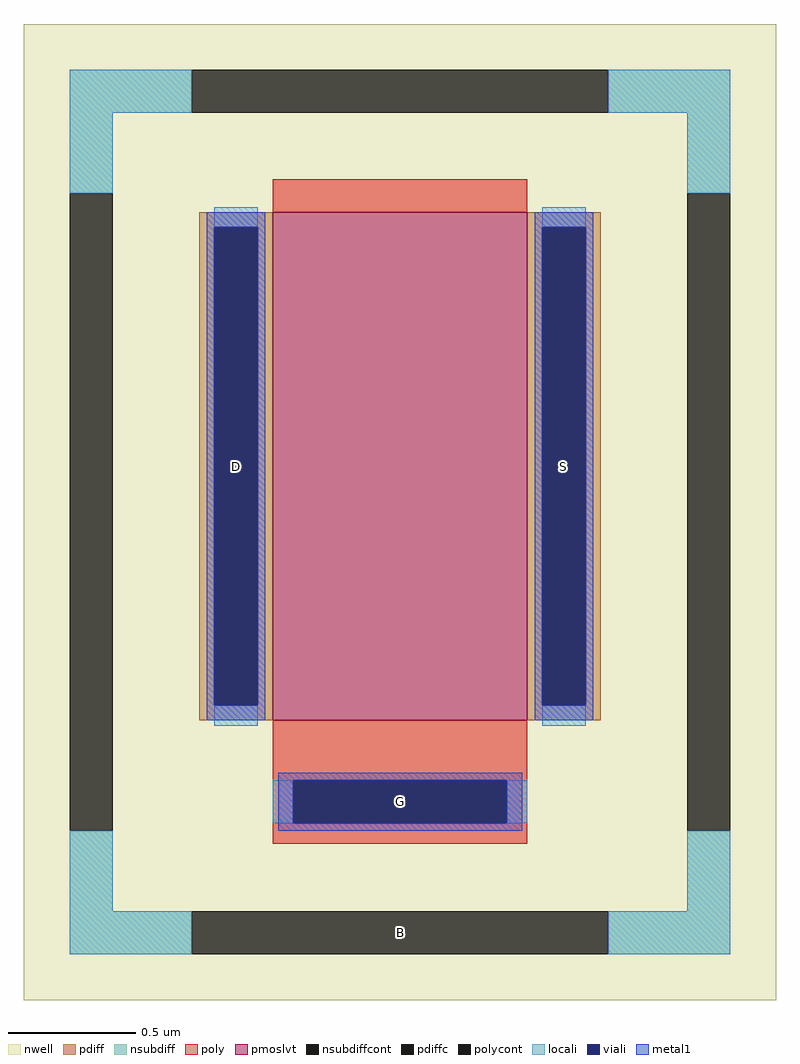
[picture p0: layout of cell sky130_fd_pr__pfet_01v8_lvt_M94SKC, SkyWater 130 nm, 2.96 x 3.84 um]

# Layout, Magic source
magic
tech sky130A
magscale 1 2
<< nwell >>
rect -296 -384 296 384
<< pmoslvt >>
rect -100 -164 100 236
<< pdiff >>
rect -158 224 -100 236
rect -158 -152 -146 224
rect -112 -152 -100 224
rect -158 -164 -100 -152
rect 100 224 158 236
rect 100 -152 112 224
rect 146 -152 158 224
rect 100 -164 158 -152
<< pdiffc >>
rect -146 -152 -112 224
rect 112 -152 146 224
<< nsubdiff >>
rect -260 314 -164 348
rect 164 314 260 348
rect -260 251 -226 314
rect 226 251 260 314
rect -260 -314 -226 -251
rect 226 -314 260 -251
rect -260 -348 -164 -314
rect 164 -348 260 -314
<< nsubdiffcont >>
rect -164 314 164 348
rect -260 -251 -226 251
rect 226 -251 260 251
rect -164 -348 164 -314
<< poly >>
rect -100 236 100 262
rect -100 -211 100 -164
rect -100 -245 -84 -211
rect 84 -245 100 -211
rect -100 -261 100 -245
<< polycont >>
rect -84 -245 84 -211
<< locali >>
rect -260 314 -164 348
rect 164 314 260 348
rect -260 251 -226 314
rect 226 251 260 314
rect -146 224 -112 240
rect -146 -168 -112 -152
rect 112 224 146 240
rect 112 -168 146 -152
rect -100 -245 -84 -211
rect 84 -245 100 -211
rect -260 -314 -226 -251
rect 226 -314 260 -251
rect -260 -348 -164 -314
rect 164 -348 260 -314
<< viali >>
rect -146 -152 -112 224
rect 112 -152 146 224
rect -84 -245 84 -211
<< metal1 >>
rect -152 224 -106 236
rect -152 -152 -146 224
rect -112 -152 -106 224
rect -152 -164 -106 -152
rect 106 224 152 236
rect 106 -152 112 224
rect 146 -152 152 224
rect 106 -164 152 -152
rect -96 -211 96 -205
rect -96 -245 -84 -211
rect 84 -245 96 -211
rect -96 -251 96 -245
<< labels >>
rlabel nsubdiffcont 0 -331 0 -331 0 B
port 1 nsew
rlabel pdiffc -129 36 -129 36 0 D
port 2 nsew
rlabel pdiffc 129 36 129 36 0 S
port 3 nsew
rlabel polycont 0 -228 0 -228 0 G
port 4 nsew
<< properties >>
string FIXED_BBOX -243 -331 243 331
string gencell sky130_fd_pr__pfet_01v8_lvt
string library sky130
string parameters w 2.0 l 1.0 m 1 nf 1 diffcov 100 polycov 100 guard 1 glc 1 grc 1 gtc 1 gbc 1 tbcov 100 rlcov 100 topc 0 botc 1 poverlap 0 doverlap 1 lmin 0.35 wmin 0.42 class mosfet compatible {sky130_fd_pr__pfet_01v8  sky130_fd_pr__pfet_01v8_lvt sky130_fd_pr__pfet_01v8_hvt  sky130_fd_pr__pfet_g5v0d10v5} full_metal 1 conn_gates 0 viasrc 100 viadrn 100 viagate 100 viagb 0 viagr 0 viagl 0 viagt 0 doports 1
<< end >>
